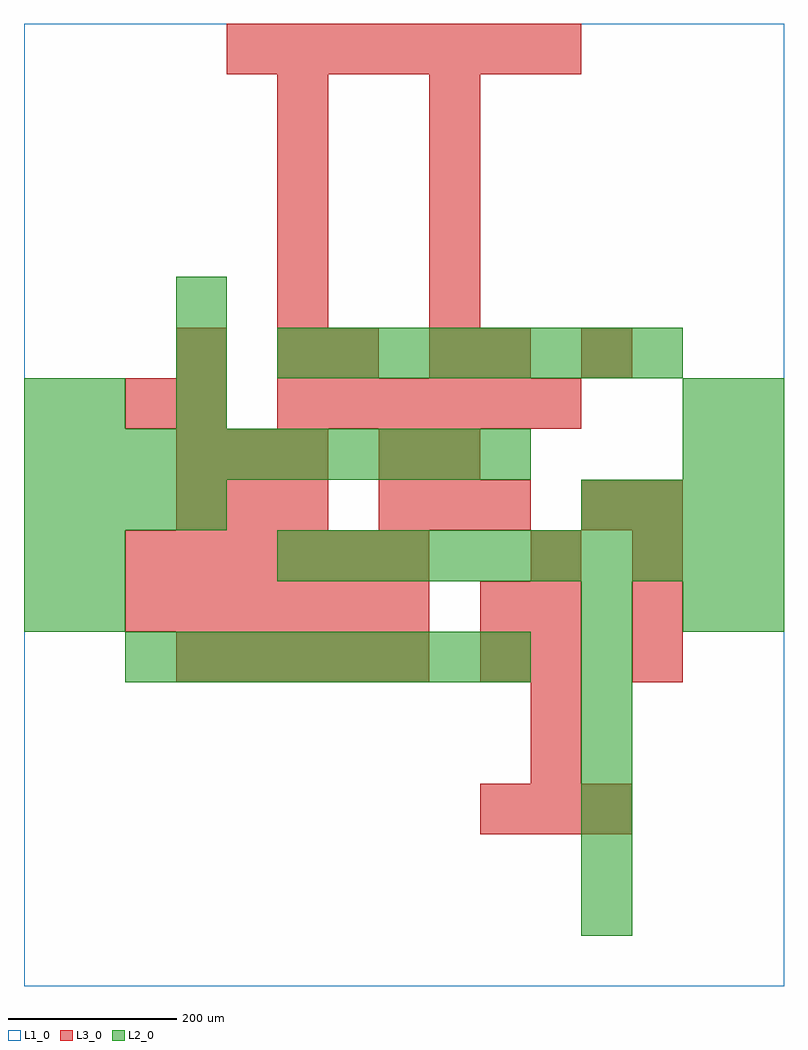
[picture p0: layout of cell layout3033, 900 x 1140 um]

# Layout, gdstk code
import gdstk
lib = gdstk.Library(unit=1e-6, precision=1e-09)
def R(c, l, rs):  # rectangles x0, y0, x1, y1
    for r in rs: c.add(gdstk.rectangle(r[:2], r[2:], *l))
def A(c, l, x, y, w, h, nx, ny, dx, dy):  # array of equal rectangles
    R(c, l, [(x+i*dx, y+j*dy, x+i*dx+w, y+j*dy+h) for i in range(nx) for j in range(ny)])
L1_0 = (1, 0)
L2_0 = (2, 0)
L3_0 = (3, 0)

layout3033 = lib.new_cell('layout3033')
R(layout3033, L1_0, [(0,0,900,1140)])
A(layout3033, L2_0, 660, 60, 60, 60, 1, 7, 0, 60)
A(layout3033, L2_0, 120, 360, 60, 60, 8, 1, 60, 0)
A(layout3033, L2_0, 300, 480, 60, 60, 10, 1, 60, 0)
A(layout3033, L2_0, 0, 540, 60, 60, 4, 1, 60, 0)
A(layout3033, L2_0, 660, 540, 60, 60, 4, 1, 60, 0)
A(layout3033, L2_0, 0, 600, 60, 60, 10, 1, 60, 0)
A(layout3033, L2_0, 180, 660, 60, 60, 1, 3, 0, 60)
A(layout3033, L2_0, 300, 720, 60, 60, 8, 1, 60, 0)
R(layout3033, L2_0, [(0,420,60,480), (60,420,120,480), (780,420,840,480), (840,420,900,480), (0,480,60,540), (60,480,120,540), (780,600,840,660), (840,600,900,660), (0,660,60,720), (60,660,120,720), (780,660,840,720), (840,660,900,720)])
A(layout3033, L3_0, 540, 180, 60, 60, 3, 1, 60, 0)
A(layout3033, L3_0, 600, 240, 60, 60, 1, 5, 0, 60)
A(layout3033, L3_0, 180, 360, 60, 60, 5, 1, 60, 0)
A(layout3033, L3_0, 720, 360, 60, 60, 1, 4, 0, 60)
A(layout3033, L3_0, 120, 420, 60, 60, 6, 2, 60, 60)
A(layout3033, L3_0, 180, 540, 60, 60, 3, 2, 60, 60)
A(layout3033, L3_0, 420, 540, 60, 60, 3, 1, 60, 0)
A(layout3033, L3_0, 300, 660, 60, 60, 6, 1, 60, 0)
A(layout3033, L3_0, 300, 720, 60, 60, 1, 6, 0, 60)
A(layout3033, L3_0, 480, 720, 60, 60, 1, 6, 0, 60)
A(layout3033, L3_0, 240, 1080, 60, 60, 7, 1, 60, 0)
R(layout3033, L3_0, [(540,360,600,420), (540,420,600,480), (660,540,720,600), (420,600,480,660), (480,600,540,660), (120,660,180,720), (180,660,240,720), (180,720,240,780), (360,720,420,780), (540,720,600,780), (660,720,720,780)])

lib.write_gds('layout3033.gds')
